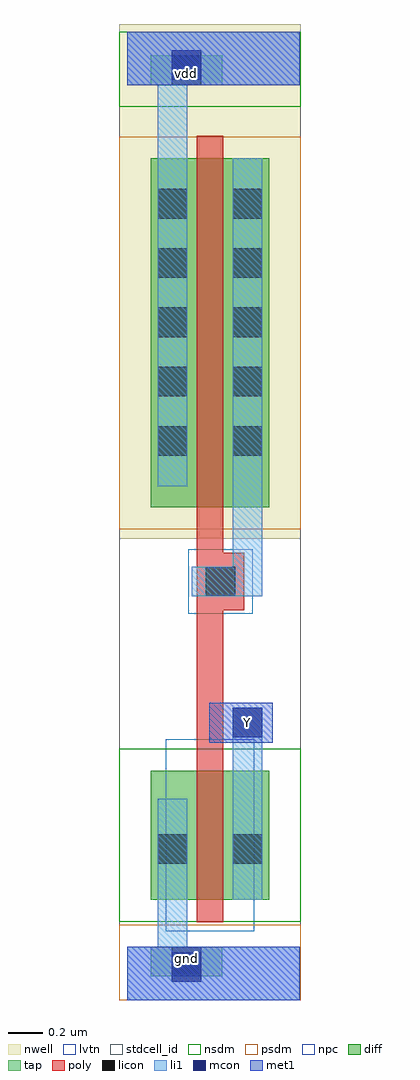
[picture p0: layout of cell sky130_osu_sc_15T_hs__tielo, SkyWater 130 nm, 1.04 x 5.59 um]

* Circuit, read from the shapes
.subckt sky130_osu_sc_15T_hs__tielo Y gnd vdd
XM1 Y n1 gnd gnd sky130_fd_pr__nfet_01v8_lvt w=0.74 l=0.15
XM2 n1 n1 vdd vdd sky130_fd_pr__pfet_01v8 w=2 l=0.15
.ends

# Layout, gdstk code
import gdstk
lib = gdstk.Library(unit=1e-6, precision=1e-09)
def R(c, l, rs):  # rectangles x0, y0, x1, y1
    for r in rs: c.add(gdstk.rectangle(r[:2], r[2:], *l))
def A(c, l, x, y, w, h, nx, ny, dx, dy):  # array of equal rectangles
    R(c, l, [(x+i*dx, y+j*dy, x+i*dx+w, y+j*dy+h) for i in range(nx) for j in range(ny)])
nwell = (64, 20)
diff = (65, 20)
tap = (65, 44)
poly = (66, 20)
licon = (66, 44)
li1 = (67, 20)
mcon = (67, 44)
met1 = (68, 20)
stdcell_id = (81, 4)
nsdm = (93, 44)
psdm = (94, 20)
npc = (95, 20)
lvtn = (125, 44)

sky130_osu_sc_15t_hs__ti = lib.new_cell('sky130_osu_sc_15T_hs__tielo')
R(sky130_osu_sc_15t_hs__ti, nwell, [(-0.045,2.645,0.995,5.595)])
R(sky130_osu_sc_15t_hs__ti, diff, [(0.135,0.575,0.815,1.315), (0.135,2.825,0.815,4.825)])
R(sky130_osu_sc_15t_hs__ti, tap, [(0.135,0.135,0.545,0.305), (0.135,5.245,0.545,5.415)])
R(sky130_osu_sc_15t_hs__ti, poly, [(0.4,0.445,0.55,2.235), (0.4,2.235,0.67,2.565), (0.4,2.565,0.55,4.955)])
A(sky130_osu_sc_15t_hs__ti, licon, 0.175, 3.12, 0.17, 0.17, 1, 5, 0, 0.34)
A(sky130_osu_sc_15t_hs__ti, licon, 0.605, 3.12, 0.17, 0.17, 1, 5, 0, 0.34)
R(sky130_osu_sc_15t_hs__ti, licon, [(0.255,0.135,0.425,0.305), (0.175,0.78,0.345,0.95), (0.605,0.78,0.775,0.95), (0.45,2.315,0.62,2.485), (0.255,5.245,0.425,5.415)])
R(sky130_osu_sc_15t_hs__ti, li1, [(0,0,0.99,0.305), (0.175,0.305,0.345,1.155), (0.605,0.575,0.775,1.675), (0.37,2.315,0.775,2.485), (0.605,2.485,0.775,4.825), (0.175,2.945,0.345,5.245), (0,5.245,0.99,5.55)])
R(sky130_osu_sc_15t_hs__ti, mcon, [(0.255,0.105,0.425,0.275), (0.605,1.505,0.775,1.675), (0.255,5.275,0.425,5.445)])
R(sky130_osu_sc_15t_hs__ti, met1, [(0,0,0.99,0.305), (0.47,1.475,0.835,1.705), (0,5.245,0.99,5.55)])
R(sky130_osu_sc_15t_hs__ti, stdcell_id, [(-0.045,0,0.995,5.55)])
R(sky130_osu_sc_15t_hs__ti, nsdm, [(-0.045,0.45,0.995,1.44), (-0.045,5.12,0.995,5.55)])
R(sky130_osu_sc_15t_hs__ti, psdm, [(-0.045,0,0.995,0.43), (-0.045,2.7,0.995,4.95)])
R(sky130_osu_sc_15t_hs__ti, npc, [(0.35,2.215,0.72,2.585)])
R(sky130_osu_sc_15t_hs__ti, lvtn, [(0.22,0.395,0.73,1.495)])
sky130_osu_sc_15t_hs__ti.add(gdstk.Label('gnd', (0.34,0.24), layer=68, texttype=16))
sky130_osu_sc_15t_hs__ti.add(gdstk.Label('vdd', (0.34,5.31), layer=68, texttype=16))
sky130_osu_sc_15t_hs__ti.add(gdstk.Label('Y', (0.69,1.59), layer=68, texttype=5))

lib.write_gds('sky130_osu_sc_15T_hs__tielo.gds')
